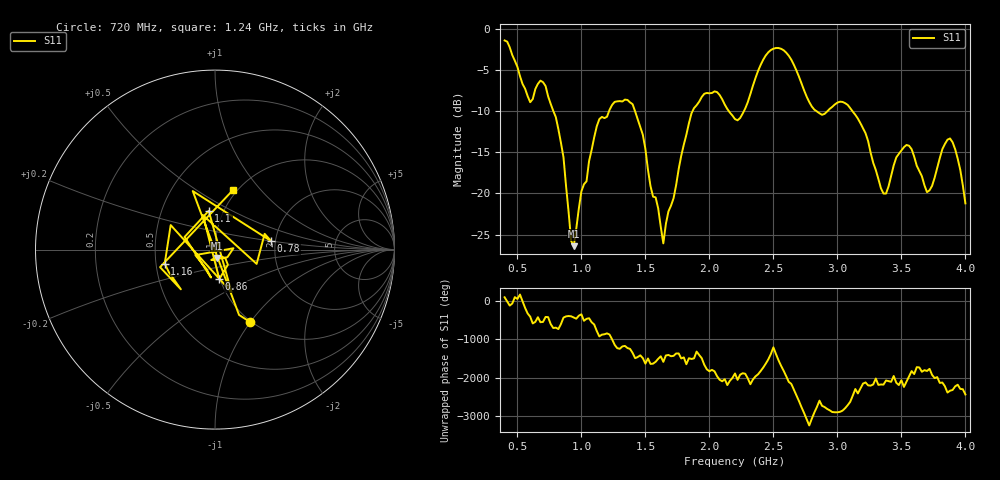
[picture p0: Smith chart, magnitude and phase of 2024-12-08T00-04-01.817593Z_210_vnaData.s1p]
!Created with skrf (http://scikit-rf.org).
# Hz S RI R 50.0
!freq ReS11 ImS11
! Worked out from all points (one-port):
!   181 points, 400 MHz to 4 GHz, reference 50 ohm
!   lowest |S11| = -26.4 dB at 940 MHz (marker M1), VSWR 1.10, Z = 50.9 - j4.75 ohm
!   |S11| at or under -10 dB: 780.3 MHz to 1.217 GHz (436.4 MHz wide, 43.7 % of centre); 1.418 GHz to 1.869 GHz (450.8 MHz wide, 27.4 % of centre); 3.116 GHz to end of sweep (the widest 3 of 5)
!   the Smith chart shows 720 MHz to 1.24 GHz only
!   S11 on the Smith chart (normalised r, x): 720 MHz: 0.99, -0.99; 780 MHz: 1.90, +0.20; 860 MHz: 0.99, -0.33; 1.1 GHz: 0.85, +0.39; 1.16 GHz: 0.56, -0.10; 1.24 GHz: 0.96, +0.72
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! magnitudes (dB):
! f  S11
! 400 MHz  -1.4
! 600 MHz  -8.9
! 720 MHz  -7.0
! 780 MHz  -10.0
! 860 MHz  -15.6
! 920 MHz  -25.8
! 940 MHz  -26.4
! 1.1 GHz  -13.2
! 1.16 GHz  -10.7
! 1.24 GHz  -9.3
! 1.3 GHz  -8.8
! 1.4 GHz  -9.2
! 1.48 GHz  -12.9
! 1.64 GHz  -26.1
! 1.76 GHz  -17.1
! 1.86 GHz  -10.3
! 1.96 GHz  -7.9
! 2.2 GHz  -11.0
! 2.46 GHz  -2.9
! 2.66 GHz  -4.4
! 2.82 GHz  -9.8
! 3.1 GHz  -9.7
! 3.22 GHz  -12.7
! 3.36 GHz  -20.0
! 3.56 GHz  -14.2
! 3.7 GHz  -19.8
! 3.88 GHz  -13.3
! 4 GHz  -21.2
